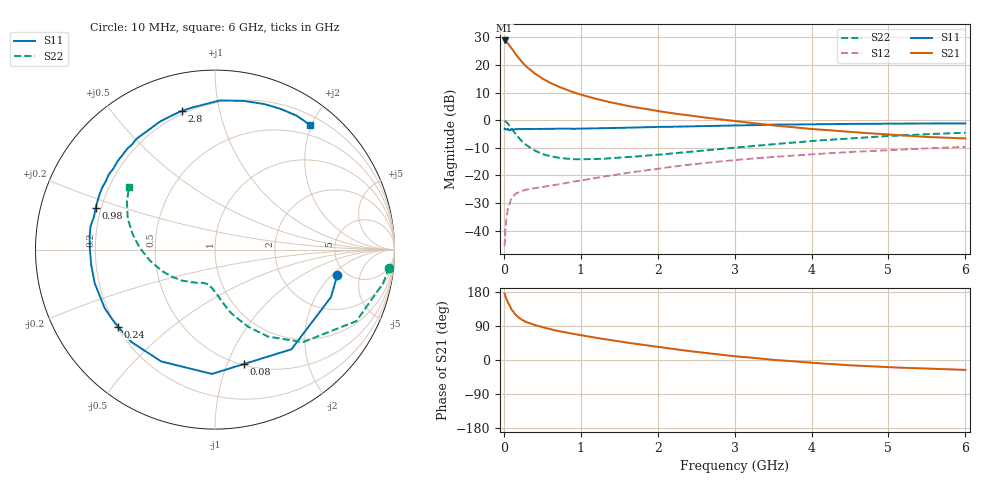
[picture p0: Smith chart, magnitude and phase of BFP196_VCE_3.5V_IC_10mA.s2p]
! Infineon Technologies  Discrete & RF Semiconductors
! BFP196
! VCE = 3.5 V,  IC =  10mA
! Common Emitter S-Parameters:  Jan 2016
# GHz  S  MA  R  50
!  f  S11  S21  S12  S22
! GHz  MAG  ANG  MAG  ANG  MAG  ANG  MAG  ANG
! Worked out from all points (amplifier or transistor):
!   210 points, 10 MHz to 6 GHz, reference 50 ohm
!   highest |S21| = 28.9 dB at 10 MHz (marker M1)
!   |S21| within 3 dB of that: start of sweep to 105.7 MHz
!   unconditionally stable (mu >= 1): 871.8 MHz to 3.382 GHz
!   at 185 MHz: K = 0.30, MSG = 24.5 dB, |S12| = -26.2 dB
!   at 1.52 GHz: K = 1.15, MAG = 10.2 dB, |S12| = -19.5 dB
!   at 6 GHz: K = 0.97, MSG = 1.5 dB, |S12| = -9.7 dB
!   S11 on the Smith chart (normalised r, x): 10 MHz: 4.27, -2.32; 80 MHz: 0.51, -1.15; 240 MHz: 0.20, -0.34; 980 MHz: 0.18, +0.16; 2.8 GHz: 0.18, +0.77; 6 GHz: 0.34, +1.98
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0.01  0.6963 -11.6  27.91 175.0  0.0052 84.2  0.9745 -5.9
0.02  0.6982 -22.3  27.16 168.2  0.0103 79.1  0.9552 -11.3
0.05  0.7 -52.5  25.04 152.9  0.0238 66.7  0.8829 -26.8
0.08  0.6576 -75.9  21.87 142.0  0.0324 55.7  0.769 -37.5
0.1  0.6929 -91.4  20.3 133.0  0.0385 51.2  0.7119 -46.4
0.15  0.6915 -115.7  15.91 119.7  0.0462 41.8  0.5683 -58.6
0.2  0.6941 -132.1  13 110.7  0.0502 37.3  0.4682 -66.7
0.24  0.6901 -141.6  11.19 105.6  0.0524 34.9  0.4095 -71.5
0.3  0.6959 -152.0  9.169 99.4  0.0555 33.5  0.3481 -77.3
0.4  0.6958 -164.4  7.063 92.3  0.0585 32.6  0.2825 -83.4
0.5  0.6951 -172.8  5.698 86.5  0.0615 34.0  0.2443 -88.2
0.6  0.6972 179.9  4.783 81.3  0.0648 35.1  0.2228 -92.5
0.7  0.7023 173.9  4.128 76.7  0.0684 36.6  0.2099 -96.0
0.98  0.704 160.8  2.969 66.2  0.0799 40.3  0.1959 -104.0
1.02  0.7065 159.1  2.857 64.7  0.0815 40.8  0.196 -105.2
1.4  0.7251 144.6  2.089 52.3  0.0993 43.3  0.2051 -115.3
2.02  0.7567 124.7  1.452 34.2  0.1335 43.0  0.2374 -132.1
2.8  0.7951 103.3  1.043 14.5  0.1781 37.8  0.2984 -152.9
3.1  0.806 96.5  0.93 8.3  0.1947 34.7  0.3264 -160.6
4.1  0.845 77.4  0.677 -8.7  0.2453 24.2  0.4293 176.4
5.1  0.8661 63.6  0.538 -19.8  0.2912 12.9  0.5237 158.5
6  0.8733 52.6  0.467 -26.1  0.3278 2.1  0.5936 143.8
